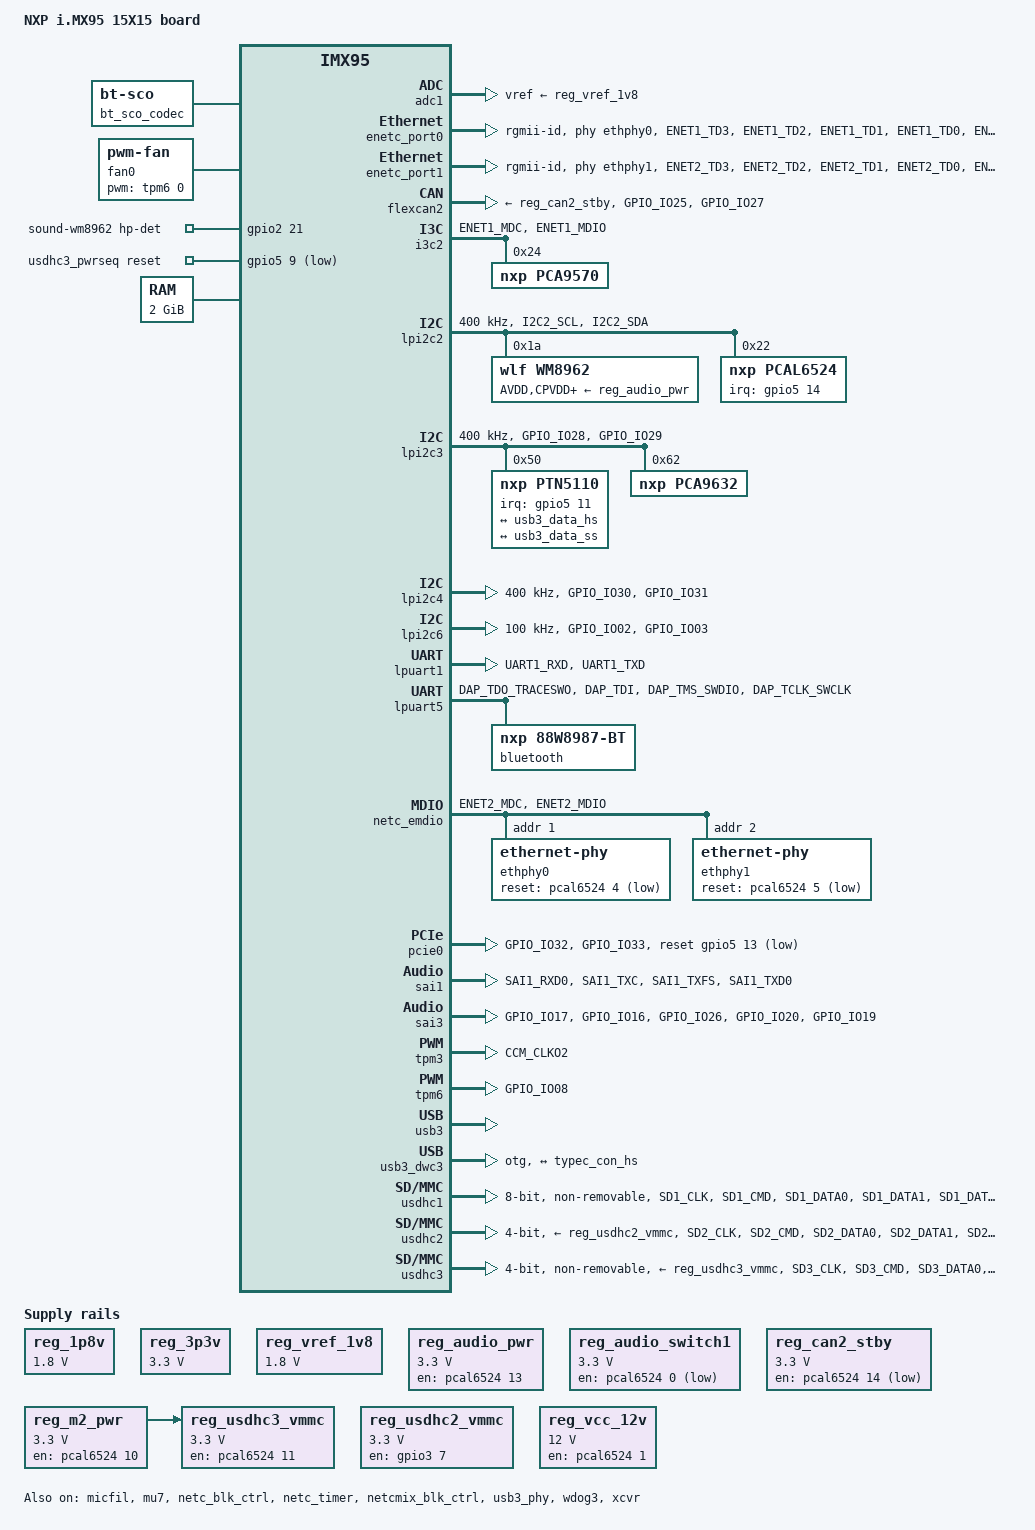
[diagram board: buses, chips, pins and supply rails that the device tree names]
// SPDX-License-Identifier: (GPL-2.0+ OR MIT)
/*
 * Copyright 2025 NXP
 */

/dts-v1/;

#include <dt-bindings/i3c/i3c.h>
#include <dt-bindings/leds/common.h>
#include <dt-bindings/phy/phy-imx8-pcie.h>
#include <dt-bindings/pwm/pwm.h>
#include <dt-bindings/usb/pd.h>
#include "imx95.dtsi"

#define FALLING_EDGE		BIT(0)
#define RISING_EDGE		BIT(1)

#define BRD_SM_CTRL_SD3_WAKE		0x8000
#define BRD_SM_CTRL_PCIE1_WAKE		0x8001
#define BRD_SM_CTRL_BT_WAKE		0x8002
#define BRD_SM_CTRL_PCIE2_WAKE		0x8003
#define BRD_SM_CTRL_BUTTON		0x8004

/ {
	compatible = "fsl,imx95-15x15-evk", "fsl,imx95";
	model = "NXP i.MX95 15X15 board";

	aliases {
		ethernet0 = &enetc_port0;
		ethernet1 = &enetc_port1;
		serial0 = &lpuart1;
	};

	bt_sco_codec: bt-sco-codec {
		compatible = "linux,bt-sco";
		#sound-dai-cells = <1>;
	};

	chosen {
		#address-cells = <2>;
		#size-cells = <2>;
		stdout-path = &lpuart1;
	};

	fan0: pwm-fan {
		compatible = "pwm-fan";
		#cooling-cells = <2>;
		cooling-levels = <64 128 192 255>;
		pwms = <&tpm6 0 4000000 PWM_POLARITY_INVERTED>;
	};

	reg_1p8v: regulator-1p8v {
		compatible = "regulator-fixed";
		regulator-max-microvolt = <1800000>;
		regulator-min-microvolt = <1800000>;
		regulator-name = "+V1.8_SW";
	};

	reg_3p3v: regulator-3p3v {
		compatible = "regulator-fixed";
		regulator-max-microvolt = <3300000>;
		regulator-min-microvolt = <3300000>;
		regulator-name = "+V3.3_SW";
	};

	reg_vref_1v8: regulator-adc-vref {
		compatible = "regulator-fixed";
		regulator-max-microvolt = <1800000>;
		regulator-min-microvolt = <1800000>;
		regulator-name = "vref_1v8";
	};

	reg_audio_pwr: regulator-audio-pwr {
		compatible = "regulator-fixed";
		regulator-always-on;
		regulator-max-microvolt = <3300000>;
		regulator-min-microvolt = <3300000>;
		regulator-name = "audio-pwr";
		gpio = <&pcal6524 13 GPIO_ACTIVE_HIGH>;
		enable-active-high;
	};

	reg_audio_switch1: regulator-audio-switch1 {
		compatible = "regulator-fixed";
		regulator-always-on;
		regulator-max-microvolt = <3300000>;
		regulator-min-microvolt = <3300000>;
		regulator-name = "audio-switch1";
		gpio = <&pcal6524 0 GPIO_ACTIVE_LOW>;
	};

	reg_can2_stby: regulator-can2-stby {
		compatible = "regulator-fixed";
		regulator-max-microvolt = <3300000>;
		regulator-min-microvolt = <3300000>;
		regulator-name = "can2-stby";
		gpio = <&pcal6524 14 GPIO_ACTIVE_LOW>;
	};

	reg_m2_pwr: regulator-m2-pwr {
		compatible = "regulator-fixed";
		regulator-always-on;
		regulator-max-microvolt = <3300000>;
		regulator-min-microvolt = <3300000>;
		regulator-name = "M.2-power";
		gpio = <&pcal6524 10 GPIO_ACTIVE_HIGH>;
		enable-active-high;
	};

	reg_usdhc2_vmmc: regulator-usdhc2 {
		compatible = "regulator-fixed";
		off-on-delay-us = <12000>;
		pinctrl-0 = <&pinctrl_reg_usdhc2_vmmc>;
		pinctrl-names = "default";
		regulator-max-microvolt = <3300000>;
		regulator-min-microvolt = <3300000>;
		regulator-name = "VDD_SD2_3V3";
		gpio = <&gpio3 7 GPIO_ACTIVE_HIGH>;
		enable-active-high;
	};

	reg_usdhc3_vmmc: regulator-usdhc3 {
		compatible = "regulator-fixed";
		regulator-max-microvolt = <3300000>;
		regulator-min-microvolt = <3300000>;
		regulator-name = "WLAN_EN";
		vin-supply = <&reg_m2_pwr>;
		gpio = <&pcal6524 11 GPIO_ACTIVE_HIGH>;
		enable-active-high;
		/*
		 * IW612 wifi chip needs more delay than other wifi chips to complete
		 * the host interface initialization after power up, otherwise the
		 * internal state of IW612 may be unstable, resulting in the failure of
		 * the SDIO3.0 switch voltage.
		 */
		startup-delay-us = <20000>;
	};

	reg_vcc_12v: regulator-vcc-12v {
		compatible = "regulator-fixed";
		regulator-max-microvolt = <12000000>;
		regulator-min-microvolt = <12000000>;
		regulator-name = "VCC_12V";
		gpio = <&pcal6524 1 GPIO_ACTIVE_HIGH>;
		enable-active-high;
	};

	reserved-memory {
		ranges;
		#address-cells = <2>;
		#size-cells = <2>;

		linux_cma: linux,cma {
			compatible = "shared-dma-pool";
			alloc-ranges = <0 0x80000000 0 0x7F000000>;
			reusable;
			size = <0 0x3c000000>;
			linux,cma-default;
		};

		vdev0vring0: vdev0vring0@88000000 {
			reg = <0 0x88000000 0 0x8000>;
			no-map;
		};

		vdev0vring1: vdev0vring1@88008000 {
			reg = <0 0x88008000 0 0x8000>;
			no-map;
		};

		vdev1vring0: vdev1vring0@88010000 {
			reg = <0 0x88010000 0 0x8000>;
			no-map;
		};

		vdev1vring1: vdev1vring1@88018000 {
			reg = <0 0x88018000 0 0x8000>;
			no-map;
		};

		vdevbuffer: vdevbuffer@88020000 {
			compatible = "shared-dma-pool";
			reg = <0 0x88020000 0 0x100000>;
			no-map;
		};

		rsc_table: rsc-table@88220000 {
			reg = <0 0x88220000 0 0x1000>;
			no-map;
		};

		vpu_boot: vpu_boot@a0000000 {
			reg = <0 0xa0000000 0 0x100000>;
			no-map;
		};
	};

	sound-bt-sco {
		compatible = "simple-audio-card";
		simple-audio-card,bitclock-inversion;
		simple-audio-card,bitclock-master = <&btcpu>;
		simple-audio-card,format = "dsp_a";
		simple-audio-card,frame-master = <&btcpu>;
		simple-audio-card,name = "bt-sco-audio";

		simple-audio-card,codec {
			sound-dai = <&bt_sco_codec 1>;
		};

		btcpu: simple-audio-card,cpu {
			dai-tdm-slot-num = <2>;
			dai-tdm-slot-width = <16>;
			sound-dai = <&sai1>;
		};
	};

	sound-micfil {
		compatible = "fsl,imx-audio-card";
		model = "micfil-audio";

		pri-dai-link {
			format = "i2s";
			link-name = "micfil hifi";

			cpu {
				sound-dai = <&micfil>;
			};
		};
	};

	sound-wm8962 {
		compatible = "fsl,imx-audio-wm8962";
		audio-codec = <&wm8962>;
		audio-cpu = <&sai3>;
		audio-routing = "Headphone Jack", "HPOUTL", "Headphone Jack", "HPOUTR",
				"Ext Spk", "SPKOUTL", "Ext Spk", "SPKOUTR", "AMIC", "MICBIAS",
				"IN3R", "AMIC", "IN1R", "AMIC";
		hp-det-gpio = <&gpio2 21 GPIO_ACTIVE_HIGH>;
		model = "wm8962-audio";
		pinctrl-0 = <&pinctrl_hp>;
		pinctrl-names = "default";
	};

	sound-xcvr {
		compatible = "fsl,imx-audio-card";
		model = "imx-audio-xcvr";

		pri-dai-link {
			link-name = "XCVR PCM";

			cpu {
				sound-dai = <&xcvr>;
			};
		};
	};

	usdhc3_pwrseq: usdhc3-pwrseq {
		compatible = "mmc-pwrseq-simple";
		pinctrl-0 = <&pinctrl_usdhc3_pwrseq>;
		pinctrl-names = "default";
		reset-gpios = <&gpio5 9 GPIO_ACTIVE_LOW>;
	};

	memory@80000000 {
		reg = <0x0 0x80000000 0 0x80000000>;
		device_type = "memory";
	};
};

&adc1 {
	vref-supply = <&reg_vref_1v8>;
	status = "okay";
};

&enetc_port0 {
	phy-handle = <&ethphy0>;
	phy-mode = "rgmii-id";
	pinctrl-0 = <&pinctrl_enetc0>;
	pinctrl-names = "default";
	status = "okay";
};

&enetc_port1 {
	phy-handle = <&ethphy1>;
	phy-mode = "rgmii-id";
	pinctrl-0 = <&pinctrl_enetc1>;
	pinctrl-names = "default";
	status = "okay";
};

&flexcan2 {
	pinctrl-0 = <&pinctrl_flexcan2>;
	pinctrl-names = "default";
	xceiver-supply = <&reg_can2_stby>;
	status = "okay";
};

&i3c2 {
	i2c-scl-hz = <400000>;
	pinctrl-0 = <&pinctrl_i3c2>;
	pinctrl-names = "default";
	status = "okay";

	pca9570: gpio@24 {
		compatible = "nxp,pca9570";
		reg = <0x24 0 (I2C_FILTER)>;
		#gpio-cells = <2>;
		gpio-controller;
		gpio-line-names = "OUT1", "OUT2", "OUT3", "OUT4";
	};
};

&lpi2c2 {
	clock-frequency = <400000>;
	pinctrl-0 = <&pinctrl_lpi2c2>;
	pinctrl-names = "default";
	status = "okay";

	wm8962: codec@1a {
		compatible = "wlf,wm8962";
		reg = <0x1a>;
		clocks = <&scmi_clk IMX95_CLK_SAI3>;
		AVDD-supply = <&reg_audio_pwr>;
		CPVDD-supply = <&reg_audio_pwr>;
		DBVDD-supply = <&reg_audio_pwr>;
		DCVDD-supply = <&reg_audio_pwr>;
		gpio-cfg = <
			0x0000
			0x0000
			0x0000
			0x0000
			0x0000
			0x0000
		>;
		MICVDD-supply = <&reg_audio_pwr>;
		PLLVDD-supply = <&reg_audio_pwr>;
		SPKVDD1-supply = <&reg_audio_pwr>;
		SPKVDD2-supply = <&reg_audio_pwr>;
	};

	pcal6524: gpio@22 {
		compatible = "nxp,pcal6524";
		reg = <0x22>;
		#interrupt-cells = <2>;
		interrupt-controller;
		interrupt-parent = <&gpio5>;
		interrupts = <14 IRQ_TYPE_LEVEL_LOW>;
		#gpio-cells = <2>;
		gpio-controller;
		pinctrl-0 = <&pinctrl_pcal6524>;
		pinctrl-names = "default";
	};
};

&lpi2c3 {
	clock-frequency = <400000>;
	pinctrl-0 = <&pinctrl_lpi2c3>;
	pinctrl-names = "default";
	status = "okay";

	ptn5110: tcpc@50 {
		compatible = "nxp,ptn5110", "tcpci";
		reg = <0x50>;
		interrupt-parent = <&gpio5>;
		interrupts = <11 IRQ_TYPE_LEVEL_LOW>;
		pinctrl-0 = <&pinctrl_ptn5110>;
		pinctrl-names = "default";

		typec_con: connector {
			compatible = "usb-c-connector";
			data-role = "dual";
			label = "USB-C";
			op-sink-microwatt = <15000000>;
			power-role = "dual";
			self-powered;
			sink-pdos = <PDO_FIXED(5000, 3000, PDO_FIXED_USB_COMM)
				     PDO_VAR(5000, 20000, 3000)>;
			source-pdos = <PDO_FIXED(5000, 3000, PDO_FIXED_USB_COMM)>;
			try-power-role = "sink";

			ports {
				#address-cells = <1>;
				#size-cells = <0>;

				port@0 {
					reg = <0>;

					typec_con_hs: endpoint {
						remote-endpoint = <&usb3_data_hs>;
					};
				};

				port@1 {
					reg = <1>;

					typec_con_ss: endpoint {
						remote-endpoint = <&usb3_data_ss>;
					};
				};
			};
		};
	};

	pca9632: led-controller@62 {
		compatible = "nxp,pca9632";
		reg = <0x62>;
		#address-cells = <1>;
		#size-cells = <0>;
		nxp,inverted-out;

		led_backlight0: led@0 {
			reg = <0>;
			color = <LED_COLOR_ID_WHITE>;
			function = LED_FUNCTION_BACKLIGHT;
			function-enumerator = <0>;
		};

		led_backlight1: led@1 {
			reg = <1>;
			color = <LED_COLOR_ID_WHITE>;
			function = LED_FUNCTION_BACKLIGHT;
			function-enumerator = <1>;
		};
	};
};

&lpi2c4 {
	clock-frequency = <400000>;
	pinctrl-0 = <&pinctrl_lpi2c4>;
	pinctrl-names = "default";
	status = "okay";
};

&lpi2c6 {
	clock-frequency = <100000>;
	pinctrl-0 = <&pinctrl_lpi2c6>;
	pinctrl-names = "default";
	status = "okay";
};

&lpuart1 {
	pinctrl-0 = <&pinctrl_uart1>;
	pinctrl-names = "default";
	status = "okay";
};

&lpuart5 {
	pinctrl-0 = <&pinctrl_uart5>;
	pinctrl-names = "default";
	status = "okay";

	bluetooth {
		compatible = "nxp,88w8987-bt";
	};
};

&micfil {
	assigned-clocks = <&scmi_clk IMX95_CLK_AUDIOPLL1_VCO>,
			  <&scmi_clk IMX95_CLK_AUDIOPLL2_VCO>,
			  <&scmi_clk IMX95_CLK_AUDIOPLL1>,
			  <&scmi_clk IMX95_CLK_AUDIOPLL2>,
			  <&scmi_clk IMX95_CLK_PDM>;
	assigned-clock-parents = <0>, <0>, <0>, <0>, <&scmi_clk IMX95_CLK_AUDIOPLL1>;
	assigned-clock-rates = <3932160000>, <3612672000>, <393216000>, <361267200>, <49152000>;
	#sound-dai-cells = <0>;
	pinctrl-0 = <&pinctrl_pdm>;
	pinctrl-names = "default";
	status = "okay";
};

&mu7 {
	status = "okay";
};

&netc_blk_ctrl {
	status = "okay";
};

&netc_bus0 {
	msi-map = <0x00 &its 0x60 0x1>,	//ENETC0 PF
		  <0x10 &its 0x61 0x1>, //ENETC0 VF0
		  <0x20 &its 0x62 0x1>, //ENETC0 VF1
		  <0x40 &its 0x63 0x1>, //ENETC1 PF
		  <0x50 &its 0x65 0x1>, //ENETC1 VF0
		  <0x60 &its 0x66 0x1>, //ENETC1 VF1
		  <0x80 &its 0x64 0x1>, //ENETC2 PF
		  <0xc0 &its 0x67 0x1>;
};

&netc_emdio {
	pinctrl-0 = <&pinctrl_emdio>;
	pinctrl-names = "default";
	status = "okay";

	ethphy0: ethernet-phy@1 {
		reg = <1>;
		reset-assert-us = <10000>;
		reset-deassert-us = <80000>;
		reset-gpios = <&pcal6524 4 GPIO_ACTIVE_LOW>;
		realtek,clkout-disable;
	};

	ethphy1: ethernet-phy@2 {
		reg = <2>;
		reset-assert-us = <10000>;
		reset-deassert-us = <80000>;
		reset-gpios = <&pcal6524 5 GPIO_ACTIVE_LOW>;
		realtek,clkout-disable;
	};
};

&netc_timer {
	status = "okay";
};

&netcmix_blk_ctrl {
	status = "okay";
};

&pcie0 {
	pinctrl-0 = <&pinctrl_pcie0>;
	pinctrl-names = "default";
	reset-gpio = <&gpio5 13 GPIO_ACTIVE_LOW>;
	vpcie-supply = <&reg_m2_pwr>;
	status = "okay";
};

&sai1 {
	assigned-clocks = <&scmi_clk IMX95_CLK_AUDIOPLL1_VCO>,
			  <&scmi_clk IMX95_CLK_AUDIOPLL2_VCO>,
			  <&scmi_clk IMX95_CLK_AUDIOPLL1>,
			  <&scmi_clk IMX95_CLK_AUDIOPLL2>,
			  <&scmi_clk IMX95_CLK_SAI1>;
	assigned-clock-parents = <0>, <0>, <0>, <0>, <&scmi_clk IMX95_CLK_AUDIOPLL1>;
	assigned-clock-rates = <3932160000>, <3612672000>, <393216000>, <361267200>, <12288000>;
	#sound-dai-cells = <0>;
	pinctrl-0 = <&pinctrl_sai1>;
	pinctrl-names = "default";
	fsl,sai-mclk-direction-output;
	status = "okay";
};

&sai3 {
	assigned-clocks = <&scmi_clk IMX95_CLK_AUDIOPLL1_VCO>,
			  <&scmi_clk IMX95_CLK_AUDIOPLL2_VCO>,
			  <&scmi_clk IMX95_CLK_AUDIOPLL1>,
			  <&scmi_clk IMX95_CLK_AUDIOPLL2>,
			  <&scmi_clk IMX95_CLK_SAI3>;
	assigned-clock-parents = <0>, <0>, <0>, <0>, <&scmi_clk IMX95_CLK_AUDIOPLL1>;
	assigned-clock-rates = <3932160000>, <3612672000>, <393216000>, <361267200>, <12288000>;
	#sound-dai-cells = <0>;
	pinctrl-0 = <&pinctrl_sai3>;
	pinctrl-names = "default";
	fsl,sai-mclk-direction-output;
	status = "okay";
};

&scmi_iomuxc {
	pinctrl_emdio: emdiogrp {
		fsl,pins = <
			IMX95_PAD_ENET2_MDC__NETCMIX_TOP_NETC_MDC		0x57e
			IMX95_PAD_ENET2_MDIO__NETCMIX_TOP_NETC_MDIO		0x97e
		>;
	};

	pinctrl_enetc0: enetc0grp {
		fsl,pins = <
			IMX95_PAD_ENET1_TD3__NETCMIX_TOP_ETH0_RGMII_TD3		0x57e
			IMX95_PAD_ENET1_TD2__NETCMIX_TOP_ETH0_RGMII_TD2		0x57e
			IMX95_PAD_ENET1_TD1__NETCMIX_TOP_ETH0_RGMII_TD1		0x57e
			IMX95_PAD_ENET1_TD0__NETCMIX_TOP_ETH0_RGMII_TD0		0x57e
			IMX95_PAD_ENET1_TX_CTL__NETCMIX_TOP_ETH0_RGMII_TX_CTL	0x57e
			IMX95_PAD_ENET1_TXC__NETCMIX_TOP_ETH0_RGMII_TX_CLK	0x58e
			IMX95_PAD_ENET1_RX_CTL__NETCMIX_TOP_ETH0_RGMII_RX_CTL	0x57e
			IMX95_PAD_ENET1_RXC__NETCMIX_TOP_ETH0_RGMII_RX_CLK	0x58e
			IMX95_PAD_ENET1_RD0__NETCMIX_TOP_ETH0_RGMII_RD0		0x57e
			IMX95_PAD_ENET1_RD1__NETCMIX_TOP_ETH0_RGMII_RD1		0x57e
			IMX95_PAD_ENET1_RD2__NETCMIX_TOP_ETH0_RGMII_RD2		0x57e
			IMX95_PAD_ENET1_RD3__NETCMIX_TOP_ETH0_RGMII_RD3		0x57e
		>;
	};

	pinctrl_enetc1: enetc1grp {
		fsl,pins = <
			IMX95_PAD_ENET2_TD3__NETCMIX_TOP_ETH1_RGMII_TD3		0x57e
			IMX95_PAD_ENET2_TD2__NETCMIX_TOP_ETH1_RGMII_TD2		0x57e
			IMX95_PAD_ENET2_TD1__NETCMIX_TOP_ETH1_RGMII_TD1		0x57e
			IMX95_PAD_ENET2_TD0__NETCMIX_TOP_ETH1_RGMII_TD0		0x57e
			IMX95_PAD_ENET2_TX_CTL__NETCMIX_TOP_ETH1_RGMII_TX_CTL	0x57e
			IMX95_PAD_ENET2_TXC__NETCMIX_TOP_ETH1_RGMII_TX_CLK	0x58e
			IMX95_PAD_ENET2_RX_CTL__NETCMIX_TOP_ETH1_RGMII_RX_CTL	0x57e
			IMX95_PAD_ENET2_RXC__NETCMIX_TOP_ETH1_RGMII_RX_CLK	0x58e
			IMX95_PAD_ENET2_RD0__NETCMIX_TOP_ETH1_RGMII_RD0		0x57e
			IMX95_PAD_ENET2_RD1__NETCMIX_TOP_ETH1_RGMII_RD1		0x57e
			IMX95_PAD_ENET2_RD2__NETCMIX_TOP_ETH1_RGMII_RD2		0x57e
			IMX95_PAD_ENET2_RD3__NETCMIX_TOP_ETH1_RGMII_RD3		0x57e
		>;
	};

	pinctrl_flexcan2: flexcan2grp {
		fsl,pins = <
			IMX95_PAD_GPIO_IO25__CAN2_TX				0x39e
			IMX95_PAD_GPIO_IO27__CAN2_RX				0x39e
		>;
	};

	pinctrl_hp: hpgrp {
		fsl,pins = <
			IMX95_PAD_GPIO_IO21__GPIO2_IO_BIT21			0x31e
		>;
	};

	pinctrl_i3c2: i3c2grp {
		fsl,pins = <
			IMX95_PAD_ENET1_MDC__I3C2_SCL				0x40000186
			IMX95_PAD_ENET1_MDIO__I3C2_SDA				0x40000186
		>;
	};

	pinctrl_lpi2c1: lpi2c1grp {
		fsl,pins = <
			IMX95_PAD_I2C1_SCL__AONMIX_TOP_LPI2C1_SCL		0x40000b9e
			IMX95_PAD_I2C1_SDA__AONMIX_TOP_LPI2C1_SDA		0x40000b9e
		>;
	};

	pinctrl_lpi2c2: lpi2c2grp {
		fsl,pins = <
			IMX95_PAD_I2C2_SCL__AONMIX_TOP_LPI2C2_SCL		0x40000b9e
			IMX95_PAD_I2C2_SDA__AONMIX_TOP_LPI2C2_SDA		0x40000b9e
		>;
	};

	pinctrl_lpi2c3: lpi2c3grp {
		fsl,pins = <
			IMX95_PAD_GPIO_IO28__LPI2C3_SDA				0x40000b9e
			IMX95_PAD_GPIO_IO29__LPI2C3_SCL				0x40000b9e
		>;
	};

	pinctrl_lpi2c4: lpi2c4grp {
		fsl,pins = <
			IMX95_PAD_GPIO_IO30__LPI2C4_SDA				0x40000b9e
			IMX95_PAD_GPIO_IO31__LPI2C4_SCL				0x40000b9e
		>;
	};

	pinctrl_lpi2c6: lpi2c6grp {
		fsl,pins = <
			IMX95_PAD_GPIO_IO02__LPI2C6_SDA				0x40000b9e
			IMX95_PAD_GPIO_IO03__LPI2C6_SCL				0x40000b9e
		>;
	};

	pinctrl_mipi_dsi_csi: mipidsigrp {
		fsl,pins = <
			IMX95_PAD_XSPI1_DATA6__GPIO5_IO_BIT6			0x31e
		>;
	};

	pinctrl_pcal6524: pcal6524grp {
		fsl,pins = <
			IMX95_PAD_GPIO_IO34__GPIO5_IO_BIT14			0x31e
		>;
	};

	pinctrl_pcie0: pcie0grp {
		fsl,pins = <
			IMX95_PAD_GPIO_IO32__HSIOMIX_TOP_PCIE1_CLKREQ_B		0x40000b1e
			IMX95_PAD_GPIO_IO33__GPIO5_IO_BIT13			0x31e
		>;
	};

	pinctrl_pdm: pdmgrp {
		fsl,pins = <
			IMX95_PAD_PDM_CLK__AONMIX_TOP_PDM_CLK				0x31e
			IMX95_PAD_PDM_BIT_STREAM0__AONMIX_TOP_PDM_BIT_STREAM_BIT0	0x31e
		>;
	};

	pinctrl_ptn5110: ptn5110grp {
		fsl,pins = <
			IMX95_PAD_XSPI1_SS1_B__GPIO5_IO_BIT11			0x31e
		>;
	};

	pinctrl_reg_usdhc2_vmmc: regusdhc2vmmcgrp {
		fsl,pins = <
			IMX95_PAD_SD2_RESET_B__GPIO3_IO_BIT7			0x31e
		>;
	};

	pinctrl_sai1: sai1grp {
		fsl,pins = <
			IMX95_PAD_SAI1_RXD0__AONMIX_TOP_SAI1_RX_DATA_BIT0	0x31e
			IMX95_PAD_SAI1_TXC__AONMIX_TOP_SAI1_TX_BCLK		0x31e
			IMX95_PAD_SAI1_TXFS__AONMIX_TOP_SAI1_TX_SYNC		0x31e
			IMX95_PAD_SAI1_TXD0__AONMIX_TOP_SAI1_TX_DATA_BIT0	0x31e
		>;
	};

	pinctrl_sai2: sai2grp {
		fsl,pins = <
			IMX95_PAD_ENET2_MDIO__NETCMIX_TOP_SAI2_RX_BCLK		0x31e
			IMX95_PAD_ENET2_MDC__NETCMIX_TOP_SAI2_RX_SYNC		0x31e
			IMX95_PAD_ENET2_TD3__NETCMIX_TOP_SAI2_RX_DATA_BIT0	0x31e
			IMX95_PAD_ENET2_TD2__NETCMIX_TOP_SAI2_RX_DATA_BIT1	0x31e
			IMX95_PAD_ENET2_TXC__NETCMIX_TOP_SAI2_TX_BCLK		0x31e
			IMX95_PAD_ENET2_TX_CTL__NETCMIX_TOP_SAI2_TX_SYNC	0x31e
			IMX95_PAD_ENET2_RX_CTL__NETCMIX_TOP_SAI2_TX_DATA_BIT0	0x31e
			IMX95_PAD_ENET2_RXC__NETCMIX_TOP_SAI2_TX_DATA_BIT1	0x31e
			IMX95_PAD_ENET2_RD0__NETCMIX_TOP_SAI2_TX_DATA_BIT2	0x31e
			IMX95_PAD_ENET2_RD1__NETCMIX_TOP_SAI2_TX_DATA_BIT3	0x31e
			IMX95_PAD_ENET2_RD2__NETCMIX_TOP_SAI2_MCLK		0x31e
		>;
	};

	pinctrl_sai3: sai3grp {
		fsl,pins = <
			IMX95_PAD_GPIO_IO17__SAI3_MCLK				0x31e
			IMX95_PAD_GPIO_IO16__SAI3_TX_BCLK			0x31e
			IMX95_PAD_GPIO_IO26__SAI3_TX_SYNC			0x31e
			IMX95_PAD_GPIO_IO20__SAI3_RX_DATA_BIT0			0x31e
			IMX95_PAD_GPIO_IO19__SAI3_TX_DATA_BIT0			0x31e
		>;
	};

	pinctrl_spdif: spdifgrp {
		fsl,pins = <
			IMX95_PAD_GPIO_IO22__SPDIF_IN				0x3fe
			IMX95_PAD_GPIO_IO23__SPDIF_OUT				0x3fe
		>;
	};

	pinctrl_tpm3: tpm3grp {
		fsl,pins = <
			IMX95_PAD_CCM_CLKO2__GPIO3_IO_BIT27			0x51e
		>;
	};

	pinctrl_tpm6: tpm6grp {
		fsl,pins = <
			IMX95_PAD_GPIO_IO08__TPM6_CH0				0x51e
		>;
	};

	pinctrl_uart1: uart1grp {
		fsl,pins = <
			IMX95_PAD_UART1_RXD__AONMIX_TOP_LPUART1_RX		0x31e
			IMX95_PAD_UART1_TXD__AONMIX_TOP_LPUART1_TX		0x31e
		>;
	};

	pinctrl_uart5: uart5grp {
		fsl,pins = <
			IMX95_PAD_DAP_TDO_TRACESWO__LPUART5_TX			0x31e
			IMX95_PAD_DAP_TDI__LPUART5_RX				0x31e
			IMX95_PAD_DAP_TMS_SWDIO__LPUART5_RTS_B			0x31e
			IMX95_PAD_DAP_TCLK_SWCLK__LPUART5_CTS_B			0x31e
		>;
	};

	pinctrl_usdhc1: usdhc1grp {
		fsl,pins = <
			IMX95_PAD_SD1_CLK__USDHC1_CLK				0x158e
			IMX95_PAD_SD1_CMD__USDHC1_CMD				0x138e
			IMX95_PAD_SD1_DATA0__USDHC1_DATA0			0x138e
			IMX95_PAD_SD1_DATA1__USDHC1_DATA1			0x138e
			IMX95_PAD_SD1_DATA2__USDHC1_DATA2			0x138e
			IMX95_PAD_SD1_DATA3__USDHC1_DATA3			0x138e
			IMX95_PAD_SD1_DATA4__USDHC1_DATA4			0x138e
			IMX95_PAD_SD1_DATA5__USDHC1_DATA5			0x138e
			IMX95_PAD_SD1_DATA6__USDHC1_DATA6			0x138e
			IMX95_PAD_SD1_DATA7__USDHC1_DATA7			0x138e
			IMX95_PAD_SD1_STROBE__USDHC1_STROBE			0x158e
		>;
	};

	pinctrl_usdhc1_100mhz: usdhc1-100mhzgrp {
		fsl,pins = <
			IMX95_PAD_SD1_CLK__USDHC1_CLK				0x158e
			IMX95_PAD_SD1_CMD__USDHC1_CMD				0x138e
			IMX95_PAD_SD1_DATA0__USDHC1_DATA0			0x138e
			IMX95_PAD_SD1_DATA1__USDHC1_DATA1			0x138e
			IMX95_PAD_SD1_DATA2__USDHC1_DATA2			0x138e
			IMX95_PAD_SD1_DATA3__USDHC1_DATA3			0x138e
			IMX95_PAD_SD1_DATA4__USDHC1_DATA4			0x138e
			IMX95_PAD_SD1_DATA5__USDHC1_DATA5			0x138e
			IMX95_PAD_SD1_DATA6__USDHC1_DATA6			0x138e
			IMX95_PAD_SD1_DATA7__USDHC1_DATA7			0x138e
			IMX95_PAD_SD1_STROBE__USDHC1_STROBE			0x158e
		>;
	};

	pinctrl_usdhc1_200mhz: usdhc1-200mhzgrp {
		fsl,pins = <
			IMX95_PAD_SD1_CLK__USDHC1_CLK				0x15fe
			IMX95_PAD_SD1_CMD__USDHC1_CMD				0x13fe
			IMX95_PAD_SD1_DATA0__USDHC1_DATA0			0x13fe
			IMX95_PAD_SD1_DATA1__USDHC1_DATA1			0x13fe
			IMX95_PAD_SD1_DATA2__USDHC1_DATA2			0x13fe
			IMX95_PAD_SD1_DATA3__USDHC1_DATA3			0x13fe
			IMX95_PAD_SD1_DATA4__USDHC1_DATA4			0x13fe
			IMX95_PAD_SD1_DATA5__USDHC1_DATA5			0x13fe
			IMX95_PAD_SD1_DATA6__USDHC1_DATA6			0x13fe
			IMX95_PAD_SD1_DATA7__USDHC1_DATA7			0x13fe
			IMX95_PAD_SD1_STROBE__USDHC1_STROBE			0x15fe
		>;
	};

	pinctrl_usdhc2_gpio: usdhc2gpiogrp {
		fsl,pins = <
			IMX95_PAD_SD2_CD_B__GPIO3_IO_BIT0			0x31e
		>;
	};

	pinctrl_usdhc2: usdhc2grp {
		fsl,pins = <
			IMX95_PAD_SD2_CLK__USDHC2_CLK				0x158e
			IMX95_PAD_SD2_CMD__USDHC2_CMD				0x138e
			IMX95_PAD_SD2_DATA0__USDHC2_DATA0			0x138e
			IMX95_PAD_SD2_DATA1__USDHC2_DATA1			0x138e
			IMX95_PAD_SD2_DATA2__USDHC2_DATA2			0x138e
			IMX95_PAD_SD2_DATA3__USDHC2_DATA3			0x138e
			IMX95_PAD_SD2_VSELECT__USDHC2_VSELECT			0x51e
		>;
	};

	pinctrl_usdhc2_100mhz: usdhc2-100mhzgrp {
		fsl,pins = <
			IMX95_PAD_SD2_CLK__USDHC2_CLK				0x158e
			IMX95_PAD_SD2_CMD__USDHC2_CMD				0x138e
			IMX95_PAD_SD2_DATA0__USDHC2_DATA0			0x138e
			IMX95_PAD_SD2_DATA1__USDHC2_DATA1			0x138e
			IMX95_PAD_SD2_DATA2__USDHC2_DATA2			0x138e
			IMX95_PAD_SD2_DATA3__USDHC2_DATA3			0x138e
			IMX95_PAD_SD2_VSELECT__USDHC2_VSELECT			0x51e
		>;
	};

	pinctrl_usdhc2_200mhz: usdhc2-200mhzgrp {
		fsl,pins = <
			IMX95_PAD_SD2_CLK__USDHC2_CLK				0x15fe
			IMX95_PAD_SD2_CMD__USDHC2_CMD				0x13fe
			IMX95_PAD_SD2_DATA0__USDHC2_DATA0			0x13fe
			IMX95_PAD_SD2_DATA1__USDHC2_DATA1			0x13fe
			IMX95_PAD_SD2_DATA2__USDHC2_DATA2			0x13fe
			IMX95_PAD_SD2_DATA3__USDHC2_DATA3			0x13fe
			IMX95_PAD_SD2_VSELECT__USDHC2_VSELECT			0x51e
		>;
	};

	pinctrl_usdhc3: usdhc3grp {
		fsl,pins = <
			IMX95_PAD_SD3_CLK__USDHC3_CLK				0x158e
			IMX95_PAD_SD3_CMD__USDHC3_CMD				0x138e
			IMX95_PAD_SD3_DATA0__USDHC3_DATA0			0x138e
			IMX95_PAD_SD3_DATA1__USDHC3_DATA1			0x138e
			IMX95_PAD_SD3_DATA2__USDHC3_DATA2			0x138e
			IMX95_PAD_SD3_DATA3__USDHC3_DATA3			0x138e
		>;
	};

	pinctrl_usdhc3_pwrseq: usdhc3pwrseqgrp {
		fsl,pins = <
			IMX95_PAD_XSPI1_SCLK__GPIO5_IO_BIT9			0x31e
		>;
	};

	pinctrl_usdhc3_100mhz: usdhc3-100mhzgrp {
		fsl,pins = <
			IMX95_PAD_SD3_CLK__USDHC3_CLK				0x158e
			IMX95_PAD_SD3_CMD__USDHC3_CMD				0x138e
			IMX95_PAD_SD3_DATA0__USDHC3_DATA0			0x138e
			IMX95_PAD_SD3_DATA1__USDHC3_DATA1			0x138e
			IMX95_PAD_SD3_DATA2__USDHC3_DATA2			0x138e
			IMX95_PAD_SD3_DATA3__USDHC3_DATA3			0x138e
		>;
	};

	pinctrl_usdhc3_200mhz: usdhc3-200mhzgrp {
		fsl,pins = <
			IMX95_PAD_SD3_CLK__USDHC3_CLK				0x15fe
			IMX95_PAD_SD3_CMD__USDHC3_CMD				0x13fe
			IMX95_PAD_SD3_DATA0__USDHC3_DATA0			0x13fe
			IMX95_PAD_SD3_DATA1__USDHC3_DATA1			0x13fe
			IMX95_PAD_SD3_DATA2__USDHC3_DATA2			0x13fe
			IMX95_PAD_SD3_DATA3__USDHC3_DATA3			0x13fe
		>;
	};
};

&scmi_misc {
	nxp,ctrl-ids = <BRD_SM_CTRL_SD3_WAKE		1>,
		       <BRD_SM_CTRL_PCIE1_WAKE		1>,
		       <BRD_SM_CTRL_BT_WAKE		1>,
		       <BRD_SM_CTRL_PCIE2_WAKE		1>,
		       <BRD_SM_CTRL_BUTTON		1>;
};

&thermal_zones {
	a55-thermal {
		cooling-maps {
			map1 {
				cooling-device = <&fan0 0 1>;
				trip = <&atrip2>;
			};

			map2 {
				cooling-device = <&fan0 1 2>;
				trip = <&atrip3>;
			};

			map3 {
				cooling-device = <&fan0 2 3>;
				trip = <&atrip4>;
			};
		};

		trips {
			atrip2: trip2 {
				hysteresis = <2000>;
				temperature = <55000>;
				type = "active";
			};

			atrip3: trip3 {
				hysteresis = <2000>;
				temperature = <65000>;
				type = "active";
			};

			atrip4: trip4 {
				hysteresis = <2000>;
				temperature = <75000>;
				type = "active";
			};
		};
	};

	pf09-thermal {
		polling-delay = <2000>;
		polling-delay-passive = <250>;
		thermal-sensors = <&scmi_sensor 2>;

		trips {
			pf09_alert: trip0 {
				hysteresis = <2000>;
				temperature = <140000>;
				type = "passive";
			};

			pf09_crit: trip1 {
				hysteresis = <2000>;
				temperature = <155000>;
				type = "critical";
			};
		};
	};

	pf53arm-thermal {
		polling-delay = <2000>;
		polling-delay-passive = <250>;
		thermal-sensors = <&scmi_sensor 4>;

		cooling-maps {
			map0 {
				cooling-device = <&A55_0 THERMAL_NO_LIMIT THERMAL_NO_LIMIT>,
						 <&A55_1 THERMAL_NO_LIMIT THERMAL_NO_LIMIT>,
						 <&A55_2 THERMAL_NO_LIMIT THERMAL_NO_LIMIT>,
						 <&A55_3 THERMAL_NO_LIMIT THERMAL_NO_LIMIT>,
						 <&A55_4 THERMAL_NO_LIMIT THERMAL_NO_LIMIT>,
						 <&A55_5 THERMAL_NO_LIMIT THERMAL_NO_LIMIT>;
				trip = <&pf5301_alert>;
			};
		};

		trips {
			pf5301_alert: trip0 {
				hysteresis = <2000>;
				temperature = <140000>;
				type = "passive";
			};

			pf5301_crit: trip1 {
				hysteresis = <2000>;
				temperature = <155000>;
				type = "critical";
			};
		};
	};

	pf53soc-thermal {
		polling-delay = <2000>;
		polling-delay-passive = <250>;
		thermal-sensors = <&scmi_sensor 3>;

		trips {
			pf5302_alert: trip0 {
				hysteresis = <2000>;
				temperature = <140000>;
				type = "passive";
			};

			pf5302_crit: trip1 {
				hysteresis = <2000>;
				temperature = <155000>;
				type = "critical";
			};
		};
	};
};

&tpm3 {
	pinctrl-0 = <&pinctrl_tpm3>;
	pinctrl-names = "default";
	status = "okay";
};

&tpm6 {
	pinctrl-0 = <&pinctrl_tpm6>;
	pinctrl-names = "default";
	status = "okay";
};

&usb3 {
	status = "okay";
};

&usb3_dwc3 {
	adp-disable;
	dr_mode = "otg";
	hnp-disable;
	role-switch-default-mode = "peripheral";
	srp-disable;
	usb-role-switch;
	snps,dis-u1-entry-quirk;
	snps,dis-u2-entry-quirk;
	status = "okay";

	port {
		usb3_data_hs: endpoint {
			remote-endpoint = <&typec_con_hs>;
		};
	};
};

&usb3_phy {
	orientation-switch;
	fsl,phy-tx-preemp-amp-tune-microamp = <600>;
	status = "okay";

	port {
		usb3_data_ss: endpoint {
			remote-endpoint = <&typec_con_ss>;
		};
	};
};

&usdhc1 {
	bus-width = <8>;
	non-removable;
	no-sd;
	no-sdio;
	pinctrl-0 = <&pinctrl_usdhc1>;
	pinctrl-1 = <&pinctrl_usdhc1_100mhz>;
	pinctrl-2 = <&pinctrl_usdhc1_200mhz>;
	pinctrl-3 = <&pinctrl_usdhc1>;
	pinctrl-names = "default", "state_100mhz", "state_200mhz", "sleep";
	fsl,tuning-step = <1>;
	status = "okay";
};

&usdhc2 {
	bus-width = <4>;
	cd-gpios = <&gpio3 00 GPIO_ACTIVE_LOW>;
	pinctrl-0 = <&pinctrl_usdhc2>, <&pinctrl_usdhc2_gpio>;
	pinctrl-1 = <&pinctrl_usdhc2_100mhz>, <&pinctrl_usdhc2_gpio>;
	pinctrl-2 = <&pinctrl_usdhc2_200mhz>, <&pinctrl_usdhc2_gpio>;
	pinctrl-3 = <&pinctrl_usdhc2>, <&pinctrl_usdhc2_gpio>;
	pinctrl-names = "default", "state_100mhz", "state_200mhz", "sleep";
	vmmc-supply = <&reg_usdhc2_vmmc>;
	fsl,tuning-step = <1>;
	status = "okay";
};

&usdhc3 {
	bus-width = <4>;
	keep-power-in-suspend;
	mmc-pwrseq = <&usdhc3_pwrseq>;
	non-removable;
	pinctrl-0 = <&pinctrl_usdhc3>;
	pinctrl-1 = <&pinctrl_usdhc3_100mhz>;
	pinctrl-2 = <&pinctrl_usdhc3_200mhz>;
	pinctrl-3 = <&pinctrl_usdhc3>;
	pinctrl-names = "default", "state_100mhz", "state_200mhz", "sleep";
	vmmc-supply = <&reg_usdhc3_vmmc>;
	wakeup-source;
	status = "okay";
};

&wdog3 {
	status = "okay";
};

&xcvr {
	clocks = <&scmi_clk IMX95_CLK_BUSWAKEUP>,
		 <&scmi_clk IMX95_CLK_SPDIF>,
		 <&dummy>,
		 <&scmi_clk IMX95_CLK_AUDIOXCVR>,
		 <&scmi_clk IMX95_CLK_AUDIOPLL1>,
		 <&scmi_clk IMX95_CLK_AUDIOPLL2>;
	clock-names = "ipg", "phy", "spba", "pll_ipg", "pll8k", "pll11k";
	assigned-clocks = <&scmi_clk IMX95_CLK_AUDIOPLL1_VCO>,
			  <&scmi_clk IMX95_CLK_AUDIOPLL2_VCO>,
			  <&scmi_clk IMX95_CLK_AUDIOPLL1>,
			  <&scmi_clk IMX95_CLK_AUDIOPLL2>,
			  <&scmi_clk IMX95_CLK_SPDIF>,
			  <&scmi_clk IMX95_CLK_AUDIOXCVR>;
	assigned-clock-parents = <0>, <0>, <0>, <0>,
				 <&scmi_clk IMX95_CLK_AUDIOPLL1>,
				 <&scmi_clk IMX95_CLK_SYSPLL1_PFD1_DIV2>;
	assigned-clock-rates = <3932160000>, <3612672000>,
			       <393216000>, <361267200>,
			       <12288000>, <0>;
	#sound-dai-cells = <0>;
	pinctrl-0 = <&pinctrl_spdif>;
	pinctrl-names = "default";
	status = "okay";
};
